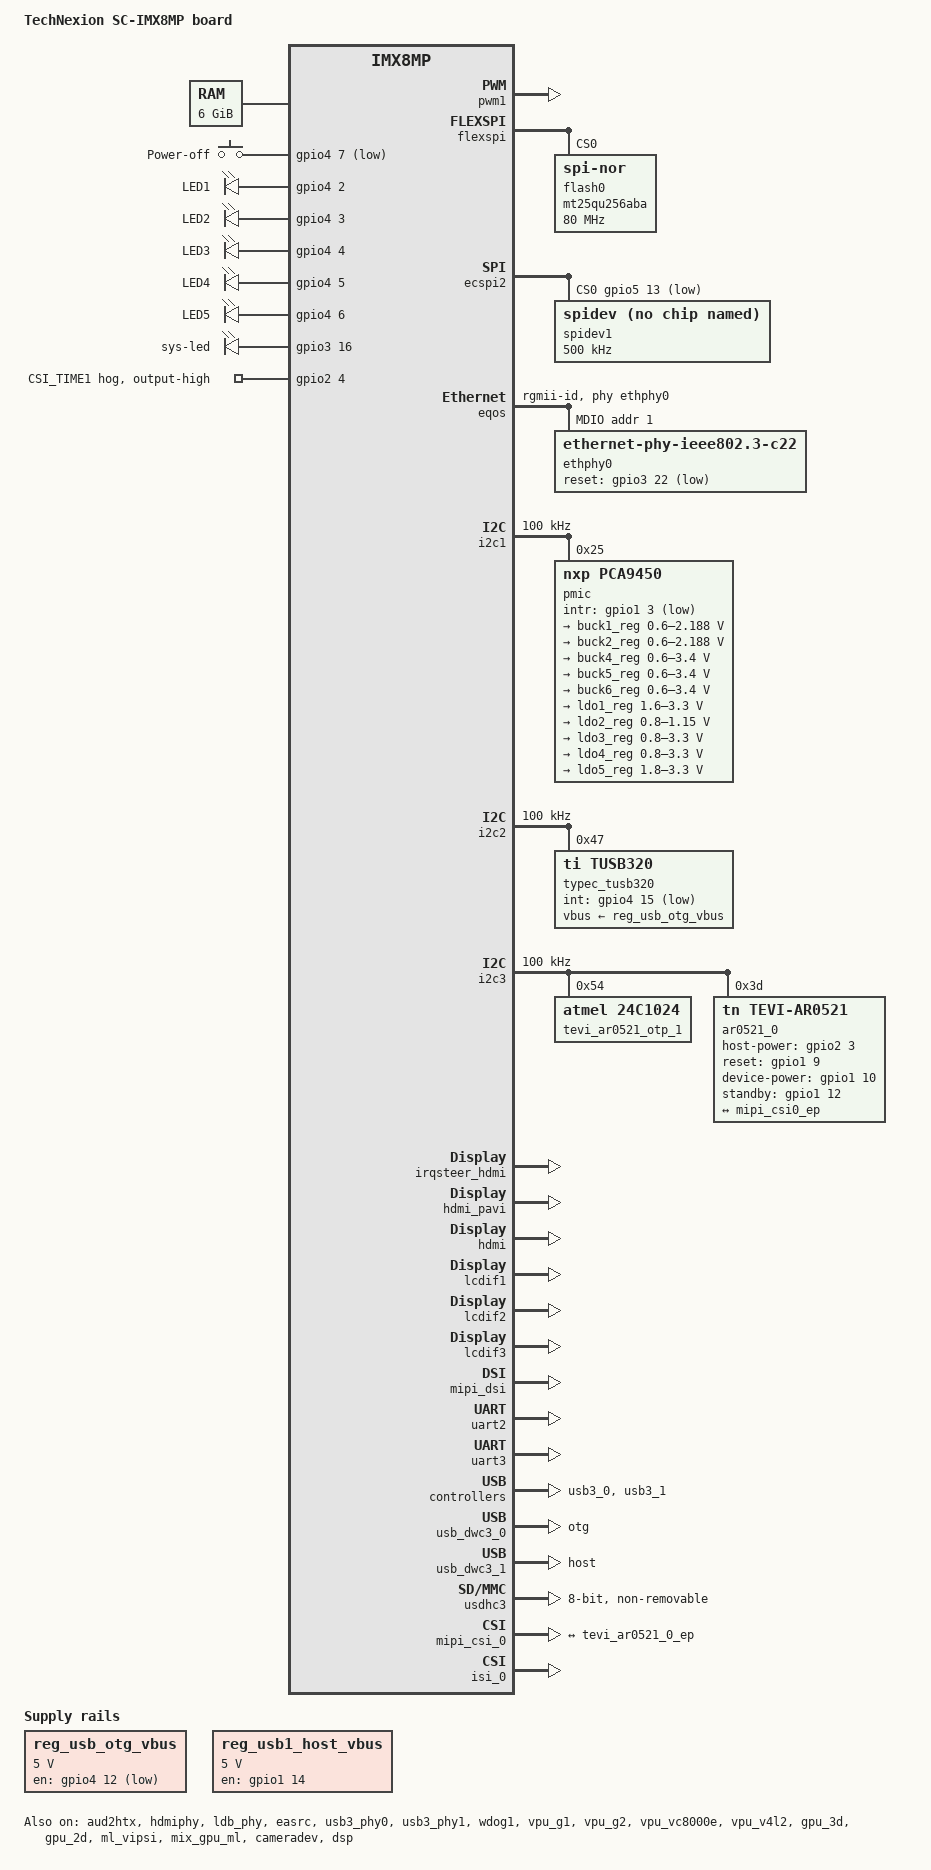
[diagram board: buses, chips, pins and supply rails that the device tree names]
// SPDX-License-Identifier: (GPL-2.0+ OR MIT)
/*
 * Copyright 2020 Technexion Ltd.
 *
 * Author: Richard Hu <richard.hu@technexion.com>
 *		   Andy Lin <andy.lin@technexion.com>
 *
 */

/dts-v1/;

#include <dt-bindings/usb/pd.h>
#include "imx8mp.dtsi"

/ {
	model = "TechNexion SC-IMX8MP board";
	compatible = "fsl,imx8mp-sc", "fsl,imx8mp";

	 memory@40000000 {
		device_type = "memory";
		reg = <0x0 0x40000000 0 0xc0000000>,
					<0x1 0x00000000 0 0xc0000000>;
	};

	chosen {
		stdout-path = &uart2;
	};

	reg_usb_otg_vbus: usb_otg_vbus {
		pinctrl-names = "default";
		pinctrl-0 = <&pinctrl_otg_vbus>;
		compatible = "regulator-fixed";
		regulator-name = "usb_otg_vbus";
		regulator-min-microvolt = <5000000>;
		regulator-max-microvolt = <5000000>;
		gpio = <&gpio4 12 GPIO_ACTIVE_LOW>;
		enable-active-low;
	};

	reg_usb1_host_vbus: regulator-usb1-vbus {
		compatible = "regulator-fixed";
		regulator-name = "usb1_host_vbus";
		pinctrl-names = "default";
		pinctrl-0 = <&pinctrl_usb1_vbus>;
		regulator-min-microvolt = <5000000>;
		regulator-max-microvolt = <5000000>;
		gpio = <&gpio1 14 GPIO_ACTIVE_HIGH>;
		enable-active-high;
		regulator-always-on;
	};

	sound-hdmi {
		compatible = "fsl,imx-audio-cdnhdmi";
		model = "audio-hdmi";
		audio-cpu = <&aud2htx>;
		hdmi-out;
		constraint-rate = <44100>,
				<88200>,
				<176400>,
				<32000>,
				<48000>,
				<96000>,
				<192000>;
		status = "okay";
	};

	gpio_keys {
		compatible = "gpio-keys";
		pinctrl-names = "default";
		pinctrl-0 = <&pinctrl_gpio_key>;

		keys {
			gpios = <&gpio4 7 GPIO_ACTIVE_LOW>;
			label = "Power-off";
			gpio-key,wakeup;
			linux,code = <KEY_POWER>;
		};
	};

	leds {
		compatible = "gpio-leds";
		pinctrl-names = "default";
		pinctrl-0 = <&pinctrl_gpio_leds>;

		led1 {
			label = "LED1";
			gpios = <&gpio4 2 GPIO_ACTIVE_HIGH>;
			linux,default-trigger = "heartbeat";
		};

		led2 {
			label = "LED2";
			gpios = <&gpio4 3 GPIO_ACTIVE_HIGH>;
			linux,default-trigger = "heartbeat";
		};

		led3 {
			label = "LED3";
			gpios = <&gpio4 4 GPIO_ACTIVE_HIGH>;
			linux,default-trigger = "heartbeat";
		};

		led4 {
			label = "LED4";
			gpios = <&gpio4 5 GPIO_ACTIVE_HIGH>;
			linux,default-trigger = "heartbeat";
		};

		led5 {
			label = "LED5";
			gpios = <&gpio4 6 GPIO_ACTIVE_HIGH>;
			linux,default-trigger = "heartbeat";
		};

		led6 {
			label = "sys-led";
			gpios = <&gpio3 16 GPIO_ACTIVE_HIGH>;
			linux,default-trigger = "heartbeat";
		};
	};
};

&gpio2 {
	pinctrl-0 = <&pinctrl_gpio2>;
	csi_time1 {
		gpio-hog;
		gpios = <4 GPIO_ACTIVE_HIGH>;
		line-name = "CSI_TIME1";
		output-high;
	};
};

&aud2htx {
	status = "okay";
};

&clk {
	init-on-array = <IMX8MP_CLK_HSIO_ROOT>;
};

&A53_0 {
	cpu-supply = <&buck2_reg>;
};

&pwm1 {
	pinctrl-names = "default";
	pinctrl-0 = <&pinctrl_pwm1>;
	status = "okay";
};

&flexspi {
	pinctrl-names = "default";
	pinctrl-0 = <&pinctrl_flexspi0>;
	status = "okay";

	flash0: mt25qu256aba@0 {
		reg = <0>;
		#address-cells = <1>;
		#size-cells = <1>;
		compatible = "jedec,spi-nor";
		spi-max-frequency = <80000000>;
		spi-tx-bus-width = <4>;
		spi-rx-bus-width = <4>;
	};
};

&ecspi2 {
	#address-cells = <1>;
	#size-cells = <0>;
	fsl,spi-num-chipselects = <1>;
	pinctrl-names = "default";
	pinctrl-0 = <&pinctrl_ecspi2 &pinctrl_ecspi2_cs>;
	cs-gpios = <&gpio5 13 GPIO_ACTIVE_LOW>;
	status = "okay";

	spidev1: spi@0 {
		reg = <0>;
		compatible = "rohm,dh2228fv";
		spi-max-frequency = <500000>;
	};
};

&eqos {
	pinctrl-names = "default";
	pinctrl-0 = <&pinctrl_eqos>;
	phy-mode = "rgmii-id";
	phy-handle = <&ethphy0>;
	status = "okay";

	mdio {
		compatible = "snps,dwmac-mdio";
		#address-cells = <1>;
		#size-cells = <0>;

		ethphy0: ethernet-phy@1 {
			/* AR8035 PHY */
			compatible = "ethernet-phy-ieee802.3-c22";
			reg = <1>;
			reset-assert-us = <10000>;
			reset-deassert-us = <30000>;
			reset-gpios = <&gpio3 22 GPIO_ACTIVE_LOW>;
			eee-broken-1000t;
			at803x,eee-disabled;
			at803x,vddio-1p8v;
		};
	};
};

&i2c1 {
	clock-frequency = <100000>;
	pinctrl-names = "default";
	pinctrl-0 = <&pinctrl_i2c1>;
	status = "okay";

	pmic: pca9450@25 {
		reg = <0x25>;
		compatible = "nxp,pca9450";
		/* PMIC PCA9450 PMIC_nINT GPIO1_IO3 */
		pinctrl-0 = <&pinctrl_pmic>;
		gpio_intr = <&gpio1 3 GPIO_ACTIVE_LOW>;

		regulators {
			#address-cells = <1>;
			#size-cells = <0>;

			pca9450,pmic-buck2-uses-i2c-dvs;
			/* Run/Standby voltage */
			pca9450,pmic-buck2-dvs-voltage = <950000>, <850000>;

			buck1_reg: regulator@0 {
				reg = <0>;
				regulator-compatible = "buck1";
				regulator-min-microvolt = <600000>;
				regulator-max-microvolt = <2187500>;
				regulator-boot-on;
				regulator-always-on;
				regulator-ramp-delay = <3125>;
			};

			buck2_reg: regulator@1 {
				reg = <1>;
				regulator-compatible = "buck2";
				regulator-min-microvolt = <600000>;
				regulator-max-microvolt = <2187500>;
				regulator-boot-on;
				regulator-always-on;
				regulator-ramp-delay = <3125>;
			};

			buck4_reg: regulator@3 {
				reg = <3>;
				regulator-compatible = "buck4";
				regulator-min-microvolt = <600000>;
				regulator-max-microvolt = <3400000>;
				regulator-boot-on;
				regulator-always-on;
			};

			buck5_reg: regulator@4 {
				reg = <4>;
				regulator-compatible = "buck5";
				regulator-min-microvolt = <600000>;
				regulator-max-microvolt = <3400000>;
				regulator-boot-on;
				regulator-always-on;
			};

			buck6_reg: regulator@5 {
				reg = <5>;
				regulator-compatible = "buck6";
				regulator-min-microvolt = <600000>;
				regulator-max-microvolt = <3400000>;
				regulator-boot-on;
				regulator-always-on;
			};

			ldo1_reg: regulator@6 {
				reg = <6>;
				regulator-compatible = "ldo1";
				regulator-min-microvolt = <1600000>;
				regulator-max-microvolt = <3300000>;
				regulator-boot-on;
				regulator-always-on;
			};

			ldo2_reg: regulator@7 {
				reg = <7>;
				regulator-compatible = "ldo2";
				regulator-min-microvolt = <800000>;
				regulator-max-microvolt = <1150000>;
				regulator-boot-on;
				regulator-always-on;
			};

			ldo3_reg: regulator@8 {
				reg = <8>;
				regulator-compatible = "ldo3";
				regulator-min-microvolt = <800000>;
				regulator-max-microvolt = <3300000>;
				regulator-boot-on;
				regulator-always-on;
			};

			ldo4_reg: regulator@9 {
				reg = <9>;
				regulator-compatible = "ldo4";
				regulator-min-microvolt = <800000>;
				regulator-max-microvolt = <3300000>;
				regulator-boot-on;
				regulator-always-on;
			};

			ldo5_reg: regulator@10 {
				reg = <10>;
				regulator-compatible = "ldo5";
				regulator-min-microvolt = <1800000>;
				regulator-max-microvolt = <3300000>;
			};
		};
	};
};

&snvs_rtc {
	status = "disabled";
};

&i2c2 {
	clock-frequency = <100000>;
	pinctrl-names = "default";
	pinctrl-0 = <&pinctrl_i2c2>;
	status = "okay";

	typec_tusb320:tusb320@47 {
		compatible = "ti,tusb320";
		pinctrl-names = "default";
		pinctrl-0 = <&pinctrl_tusb320_irq>;
		reg = <0x47>;
		vbus-supply = <&reg_usb_otg_vbus>;
		tusb320,int-gpio = <&gpio4 15 GPIO_ACTIVE_LOW>;
		tusb320,select-mode = <0>;
		tusb320,dfp-power = <0>;
	};
};

&i2c3 {
	clock-frequency = <100000>;
	pinctrl-names = "default";
	pinctrl-0 = <&pinctrl_i2c3>;
	status = "okay";

	tevi_ar0521_otp_1: tevi_ar0521_otp@54 {
		compatible = "atmel,24c1024";
		reg = <0x54>;
		pagesize = <256>;
		//read-only;
	};

	ar0521_0: ar0521_mipi@3d {
		compatible = "tn,tevi-ar0521";
		reg = <0x3d>;

		pinctrl-names = "default";
		pinctrl-0 = <&pinctrl_csi0_pwn>, <&pinctrl_csi0_rst>;
		host-power-gpios = <&gpio2 3 GPIO_ACTIVE_HIGH>;
		reset-gpios = <&gpio1 9 GPIO_ACTIVE_HIGH>;
		device-power-gpios = <&gpio1 10 GPIO_ACTIVE_HIGH>;
		standby-gpios = <&gpio1 12 GPIO_ACTIVE_HIGH>;
		nvmem = <&tevi_ar0521_otp_1>;
		nvmem-names = "calib-data";
		data-lanes = <4>;
		continuous-clock = <0>;
		status = "okay";

		port {
			tevi_ar0521_0_ep: endpoint {
				remote-endpoint = <&mipi_csi0_ep>;
			};
		};
	};
};

&irqsteer_hdmi {
	status = "okay";
};

&hdmi_pavi {
	status = "okay";
};

&hdmi {
	status = "okay";
};

&hdmiphy {
	status = "okay";
};

&lcdif1 {
	status = "okay";
};

&lcdif2 {
	status = "okay";
};

&lcdif3 {
	status = "okay";
};

&ldb {
	status = "disabled";
};

&ldb_phy {
	status = "okay";
};

&mipi_dsi {
	status = "okay";
};

&easrc {
	fsl,asrc-rate  = <48000>;
	status = "okay";
};

&sdma2 {
	status = "okay";
};

/* console */
&uart2 {
	pinctrl-names = "default";
	pinctrl-0 = <&pinctrl_uart2>;
	status = "okay";
};

&uart3 {
	pinctrl-names = "default";
	pinctrl-0 = <&pinctrl_uart3>;
	assigned-clocks = <&clk IMX8MP_CLK_UART3>;
	assigned-clock-parents = <&clk IMX8MP_SYS_PLL1_80M>;
	fsl,uart-has-rtscts;
	status = "okay";
};

&usb3_phy0 {
	fsl,phy-tx-vref-tune = <0xe>;
	fsl,phy-tx-preemp-amp-tune = <3>;
	fsl,phy-tx-vboost-level = <5>;
	fsl,phy-comp-dis-tune = <7>;
	fsl,pcs-tx-deemph-3p5db = <0x21>;
	fsl,phy-pcs-tx-swing-full = <0x7f>;
	status = "okay";
};

&usb3_0 {
	status = "okay";
};

&usb_dwc3_0 {
	dr_mode = "otg";
	hnp-disable;
	srp-disable;
	adp-disable;
	extcon = <&typec_tusb320>;
	status = "okay";
};

&usb3_phy1 {
	fsl,phy-tx-preemp-amp-tune = <3>;
  fsl,phy-tx-vref-tune = <0xb>;
	status = "okay";
};

&usb3_1 {
	status = "okay";
};

&usb_dwc3_1 {
	dr_mode = "host";
	status = "okay";
};

/* eMMC on Board */
&usdhc3 {
	pinctrl-names = "default", "state_100mhz", "state_200mhz";
	pinctrl-0 = <&pinctrl_usdhc3>;
	pinctrl-1 = <&pinctrl_usdhc3_100mhz>;
	pinctrl-2 = <&pinctrl_usdhc3_200mhz>;
	bus-width = <8>;
	non-removable;
	status = "okay";
};

&wdog1 {
	pinctrl-names = "default";
	pinctrl-0 = <&pinctrl_wdog>;
	fsl,ext-reset-output;
	status = "okay";
};

&iomuxc {
	pinctrl-names = "default";
	pinctrl-0 = <&pinctrl_hog>;

	pinctrl_hog: hoggrp {
		fsl,pins = <
			MX8MP_IOMUXC_HDMI_DDC_SCL__HDMIMIX_HDMI_SCL	0x400001c3
			MX8MP_IOMUXC_HDMI_DDC_SDA__HDMIMIX_HDMI_SDA	0x400001c3
			MX8MP_IOMUXC_HDMI_HPD__HDMIMIX_HDMI_HPD	0x40000019
			MX8MP_IOMUXC_HDMI_CEC__HDMIMIX_HDMI_CEC		0x40000019
		>;
	};

    pinctrl_flexspi0: flexspi0grp {
		fsl,pins = <
			MX8MP_IOMUXC_NAND_ALE__FLEXSPI_A_SCLK       0x1c2
			MX8MP_IOMUXC_NAND_CE0_B__FLEXSPI_A_SS0_B    0x82
			MX8MP_IOMUXC_NAND_DATA00__FLEXSPI_A_DATA00  0x82
			MX8MP_IOMUXC_NAND_DATA01__FLEXSPI_A_DATA01  0x82
			MX8MP_IOMUXC_NAND_DATA02__FLEXSPI_A_DATA02  0x82
			MX8MP_IOMUXC_NAND_DATA03__FLEXSPI_A_DATA03  0x82
		>;
	};

	pinctrl_otg_vbus: otgvbusgrp {
		fsl,pins = <
			MX8MP_IOMUXC_SAI1_TXD0__GPIO4_IO12     0x19
		>;
	};

	pinctrl_tusb320_irq: tusb320_irqgrp {
		fsl,pins = <
			MX8MP_IOMUXC_SAI1_TXD3__GPIO4_IO15		0x41
		>;
	};

	pinctrl_gpio_key: gpiokeygrp {
		fsl,pins = <
			MX8MP_IOMUXC_SAI1_RXD5__GPIO4_IO07		0x41
		>;
	};

	pinctrl_gpio_leds: gpioledgrp {
		fsl,pins = <
			MX8MP_IOMUXC_SAI1_RXD0__GPIO4_IO02		0x19
			MX8MP_IOMUXC_SAI1_RXD1__GPIO4_IO03		0x19
			MX8MP_IOMUXC_SAI1_RXD2__GPIO4_IO04		0x19
			MX8MP_IOMUXC_SAI1_RXD3__GPIO4_IO05		0x19
			MX8MP_IOMUXC_SAI1_RXD4__GPIO4_IO06		0x19
			MX8MP_IOMUXC_NAND_READY_B__GPIO3_IO16	0x19
		>;
	};

	pinctrl_pwm1: pwm1grp {
		fsl,pins = <
			MX8MP_IOMUXC_SAI5_MCLK__PWM1_OUT	0x116
		>;
	};

	pinctrl_ecspi2: ecspi2grp {
		fsl,pins = <
			MX8MP_IOMUXC_ECSPI2_SCLK__ECSPI2_SCLK		0x82
			MX8MP_IOMUXC_ECSPI2_MOSI__ECSPI2_MOSI		0x82
			MX8MP_IOMUXC_ECSPI2_MISO__ECSPI2_MISO		0x82
		>;
	};

	pinctrl_ecspi2_cs: ecspi2cs {
		fsl,pins = <
			MX8MP_IOMUXC_ECSPI2_SS0__GPIO5_IO13		0x40000
		>;
	};

	pinctrl_eqos: eqosgrp {
		fsl,pins = <
			MX8MP_IOMUXC_ENET_MDC__ENET_QOS_MDC	0x3
			MX8MP_IOMUXC_ENET_MDIO__ENET_QOS_MDIO	0x23
			MX8MP_IOMUXC_ENET_RD0__ENET_QOS_RGMII_RD0	0x91
			MX8MP_IOMUXC_ENET_RD1__ENET_QOS_RGMII_RD1	0x91
			MX8MP_IOMUXC_ENET_RD2__ENET_QOS_RGMII_RD2	0x91
			MX8MP_IOMUXC_ENET_RD3__ENET_QOS_RGMII_RD3	0x91
			MX8MP_IOMUXC_ENET_RXC__CCM_ENET_QOS_CLOCK_GENERATE_RX_CLK	0x91
			MX8MP_IOMUXC_ENET_RX_CTL__ENET_QOS_RGMII_RX_CTL	0x91
			MX8MP_IOMUXC_ENET_TD0__ENET_QOS_RGMII_TD0		0x1f
			MX8MP_IOMUXC_ENET_TD1__ENET_QOS_RGMII_TD1		0x1f
			MX8MP_IOMUXC_ENET_TD2__ENET_QOS_RGMII_TD2		0x1f
			MX8MP_IOMUXC_ENET_TD3__ENET_QOS_RGMII_TD3		0x1f
			MX8MP_IOMUXC_ENET_TX_CTL__ENET_QOS_RGMII_TX_CTL	0x1f
			MX8MP_IOMUXC_ENET_TXC__CCM_ENET_QOS_CLOCK_GENERATE_TX_CLK	0x1f
			MX8MP_IOMUXC_SAI5_RXD1__GPIO3_IO22		0x19
			MX8MP_IOMUXC_SAI5_RXD2__GPIO3_IO23		0x19
		>;
	};

	pinctrl_i2c1: i2c1grp {
		fsl,pins = <
			MX8MP_IOMUXC_SD1_DATA4__I2C1_SCL	0x400001c3
			MX8MP_IOMUXC_SD1_DATA5__I2C1_SDA	0x400001c3
		>;
	};

	pinctrl_i2c2: i2c2grp {
		fsl,pins = <
			MX8MP_IOMUXC_I2C2_SCL__I2C2_SCL			0x400001c3
			MX8MP_IOMUXC_I2C2_SDA__I2C2_SDA			0x400001c3
		>;
	};

	pinctrl_i2c3: i2c3grp {
		fsl,pins = <
			MX8MP_IOMUXC_I2C3_SCL__I2C3_SCL			0x400001c3
			MX8MP_IOMUXC_I2C3_SDA__I2C3_SDA			0x400001c3
		>;
	};

	pinctrl_mipi_dsi_en: mipi_dsi_en {
		fsl,pins = <
			MX8MP_IOMUXC_GPIO1_IO08__GPIO1_IO08	0x16
		>;
	};

	pinctrl_pmic: pmicirq {
		fsl,pins = <
			MX8MP_IOMUXC_GPIO1_IO03__GPIO1_IO03	0x41
		>;
	};

	pinctrl_typec: typec1grp {
		fsl,pins = <
			MX8MP_IOMUXC_SAI1_TXD7__GPIO4_IO19	0x1c4
		>;
	};

	pinctrl_i2c2_synaptics_dsx_io: synaptics_dsx_iogrp {
		fsl,pins = <
			MX8MP_IOMUXC_GPIO1_IO09__GPIO1_IO09		0x16
		>;
	};

	pinctrl_uart1: uart1grp {
		fsl,pins = <
			MX8MP_IOMUXC_UART1_RXD__UART1_DCE_RX	0x140
			MX8MP_IOMUXC_UART1_TXD__UART1_DCE_TX	0x140
			MX8MP_IOMUXC_UART3_RXD__UART1_DCE_CTS	0x140
			MX8MP_IOMUXC_UART3_TXD__UART1_DCE_RTS	0x140
		>;
	};

	pinctrl_uart2: uart2grp {
		fsl,pins = <
			MX8MP_IOMUXC_UART2_RXD__UART2_DCE_RX	0x49
			MX8MP_IOMUXC_UART2_TXD__UART2_DCE_TX	0x49
		>;
	};

	pinctrl_uart3: uart3grp {
		fsl,pins = <
			MX8MP_IOMUXC_ECSPI1_SCLK__UART3_DCE_RX		0x140
			MX8MP_IOMUXC_ECSPI1_MOSI__UART3_DCE_TX		0x140
		>;
	};

	pinctrl_usb1_vbus: usb1grp {
		fsl,pins = <
			MX8MP_IOMUXC_GPIO1_IO14__GPIO1_IO14	0x19
		>;
	};

	pinctrl_usdhc3: usdhc3grp {
		fsl,pins = <
			MX8MP_IOMUXC_NAND_WE_B__USDHC3_CLK	0x190
			MX8MP_IOMUXC_NAND_WP_B__USDHC3_CMD	0x1d0
			MX8MP_IOMUXC_NAND_DATA04__USDHC3_DATA0	0x1d0
			MX8MP_IOMUXC_NAND_DATA05__USDHC3_DATA1	0x1d0
			MX8MP_IOMUXC_NAND_DATA06__USDHC3_DATA2	0x1d0
			MX8MP_IOMUXC_NAND_DATA07__USDHC3_DATA3	0x1d0
			MX8MP_IOMUXC_NAND_RE_B__USDHC3_DATA4	0x1d0
			MX8MP_IOMUXC_NAND_CE2_B__USDHC3_DATA5	0x1d0
			MX8MP_IOMUXC_NAND_CE3_B__USDHC3_DATA6	0x1d0
			MX8MP_IOMUXC_NAND_CLE__USDHC3_DATA7	0x1d0
			MX8MP_IOMUXC_NAND_CE1_B__USDHC3_STROBE	0x190
		>;
	};

	pinctrl_usdhc3_100mhz: usdhc3grp-100mhz {
		fsl,pins = <
			MX8MP_IOMUXC_NAND_WE_B__USDHC3_CLK	0x194
			MX8MP_IOMUXC_NAND_WP_B__USDHC3_CMD	0x1d4
			MX8MP_IOMUXC_NAND_DATA04__USDHC3_DATA0	0x1d4
			MX8MP_IOMUXC_NAND_DATA05__USDHC3_DATA1	0x1d4
			MX8MP_IOMUXC_NAND_DATA06__USDHC3_DATA2	0x1d4
			MX8MP_IOMUXC_NAND_DATA07__USDHC3_DATA3	0x1d4
			MX8MP_IOMUXC_NAND_RE_B__USDHC3_DATA4	0x1d4
			MX8MP_IOMUXC_NAND_CE2_B__USDHC3_DATA5	0x1d4
			MX8MP_IOMUXC_NAND_CE3_B__USDHC3_DATA6	0x1d4
			MX8MP_IOMUXC_NAND_CLE__USDHC3_DATA7	0x1d4
			MX8MP_IOMUXC_NAND_CE1_B__USDHC3_STROBE	0x194
		>;
	};

	pinctrl_usdhc3_200mhz: usdhc3grp-200mhz {
		fsl,pins = <
			MX8MP_IOMUXC_NAND_WE_B__USDHC3_CLK	0x196
			MX8MP_IOMUXC_NAND_WP_B__USDHC3_CMD	0x1d6
			MX8MP_IOMUXC_NAND_DATA04__USDHC3_DATA0	0x1d6
			MX8MP_IOMUXC_NAND_DATA05__USDHC3_DATA1	0x1d6
			MX8MP_IOMUXC_NAND_DATA06__USDHC3_DATA2	0x1d6
			MX8MP_IOMUXC_NAND_DATA07__USDHC3_DATA3	0x1d6
			MX8MP_IOMUXC_NAND_RE_B__USDHC3_DATA4	0x1d6
			MX8MP_IOMUXC_NAND_CE2_B__USDHC3_DATA5	0x1d6
			MX8MP_IOMUXC_NAND_CE3_B__USDHC3_DATA6	0x1d6
			MX8MP_IOMUXC_NAND_CLE__USDHC3_DATA7	0x1d6
			MX8MP_IOMUXC_NAND_CE1_B__USDHC3_STROBE	0x196
		>;
	};

	pinctrl_wdog: wdoggrp {
		fsl,pins = <
			MX8MP_IOMUXC_GPIO1_IO02__WDOG1_WDOG_B	0xc6
		>;
	};

	pinctrl_csi0_pwn: csi0_pwn_grp {
		fsl,pins = <
			MX8MP_IOMUXC_SD1_DATA1__GPIO2_IO03	0x19 /* PWR_TIME0 */
			MX8MP_IOMUXC_GPIO1_IO10__GPIO1_IO10		0x19
			MX8MP_IOMUXC_GPIO1_IO12__GPIO1_IO12		0x19
		>;
	};

	pinctrl_csi0_rst: csi0_rst_grp {
		fsl,pins = <
			MX8MP_IOMUXC_GPIO1_IO09__GPIO1_IO09		0x19
		>;
	};

	pinctrl_gpio2: gpio2_grp {
		fsl,pins = <
			MX8MP_IOMUXC_SD1_DATA2__GPIO2_IO04		0x19
		>;
	};
};

&vpu_g1 {
	status = "okay";
};

&vpu_g2 {
	status = "okay";
};

&vpu_vc8000e {
	status = "okay";
};

&vpu_v4l2 {
	status = "okay";
};

&gpu_3d {
	status = "okay";
};

&gpu_2d {
	status = "okay";
};

&ml_vipsi {
	status = "okay";
};

&mix_gpu_ml {
	status = "okay";
};

&mipi_csi_0 {
	#address-cells = <1>;
	#size-cells = <0>;
	status = "okay";

	port@0 {
		reg = <0>;
		mipi_csi0_ep: endpoint {
			remote-endpoint = <&tevi_ar0521_0_ep>;
			data-lanes = <4>;
			csis-hs-settle = <13>;
			csis-clk-settle = <2>;
			csis-wclk;
		};
	};
};

&cameradev {
	status = "okay";
};

&isi_0 {
	status = "okay";

	cap_device {
		status = "okay";
	};

	m2m_device {
		status = "okay";
	};
};

&isi_1 {
	status = "disabled";
};

&dsp {
	status = "okay";
};
